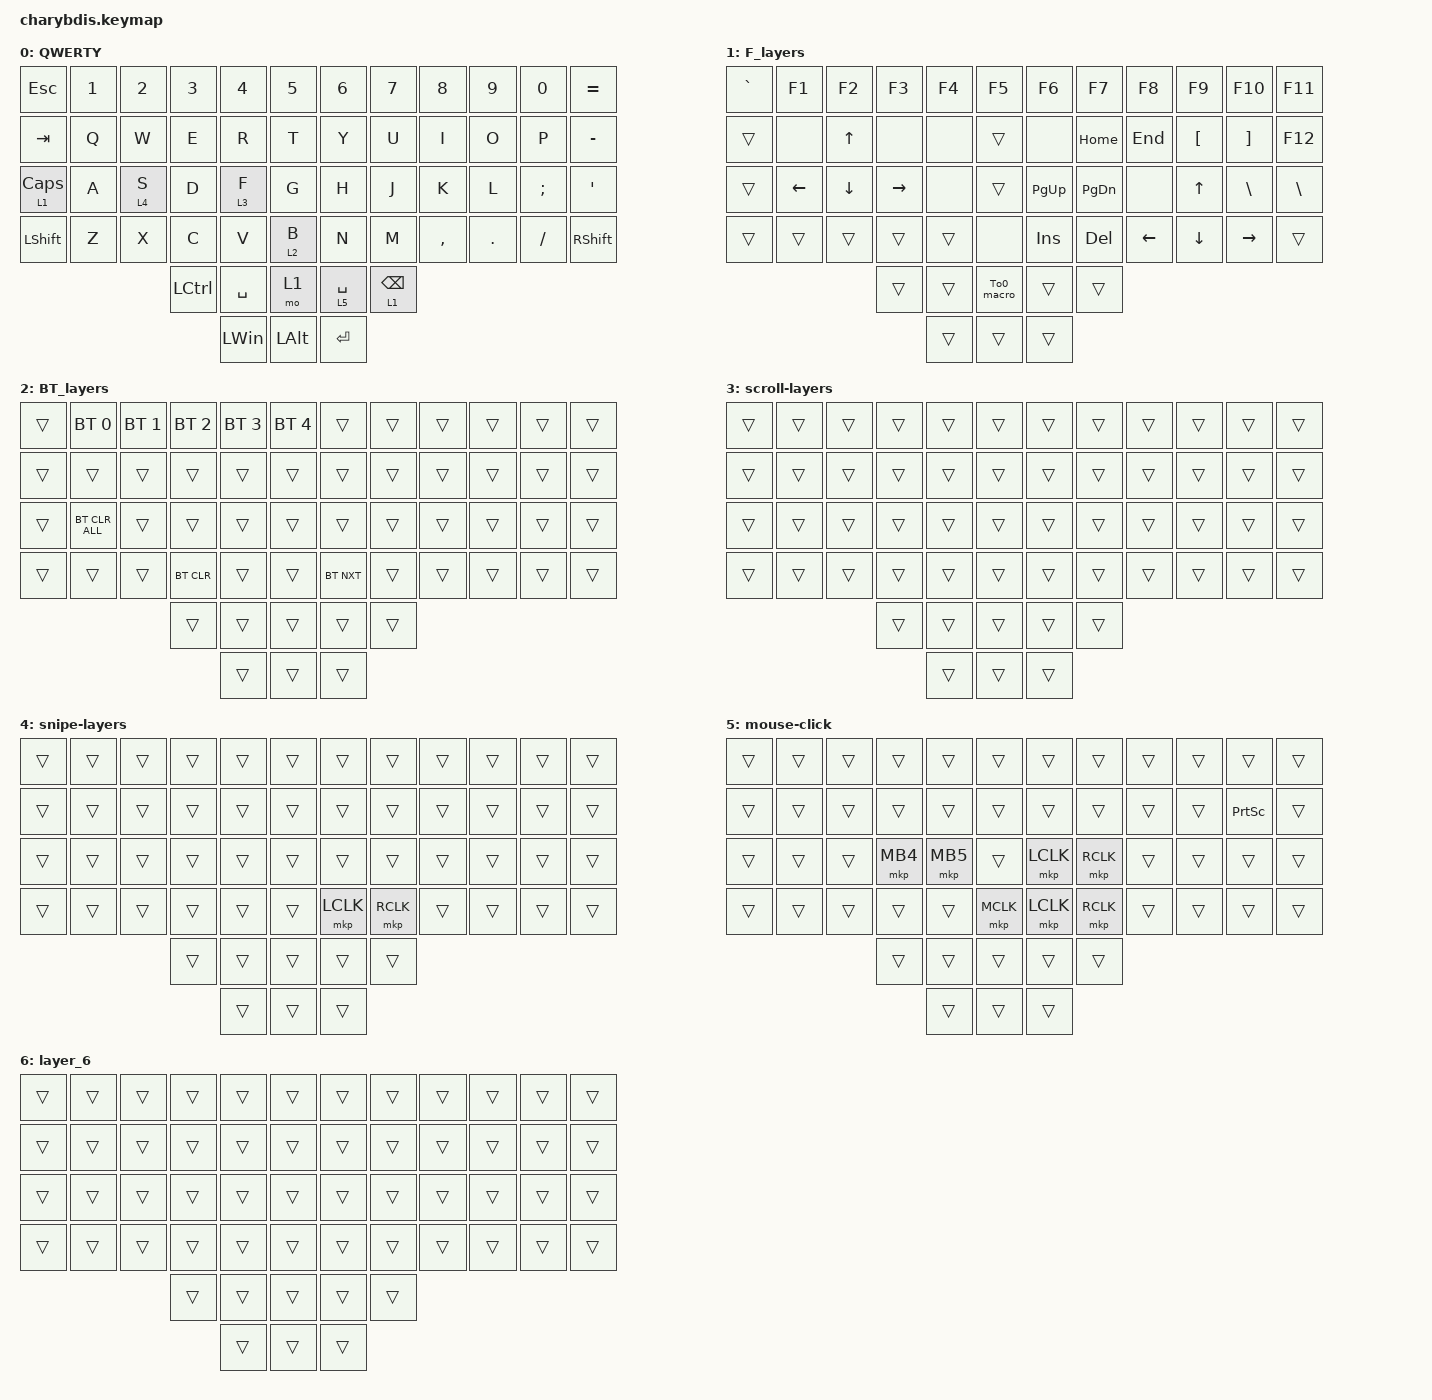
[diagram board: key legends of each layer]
#include <behaviors.dtsi>
#include <dt-bindings/zmk/bt.h>
#include <dt-bindings/zmk/keys.h>
#include <dt-bindings/zmk/pointing.h>
#include <dt-bindings/zmk/rgb.h>

&lt {
    tapping-term-ms = <200>;
    flavor = "balanced";
    quick-tap-ms = <150>;
};

/ {
    macros {
        To1_macro: To1_macro {
            compatible = "zmk,behavior-macro";
            label = "To1_macro";
            #binding-cells = <0>;
            bindings = <&rgb_ug RGB_EFF &rgb_ug RGB_COLOR_HSB(128,100,50) &to 1>;
        };

        To0_macro: To0_macro {
            compatible = "zmk,behavior-macro";
            label = "To0_macro";
            #binding-cells = <0>;
            bindings = <&rgb_ug RGB_EFR &to 0>;
        };

        To2_macro: To2_macro {
            compatible = "zmk,behavior-macro";
            label = "To2_macro";
            #binding-cells = <0>;
            bindings =
                <&to 2>,
                <&macro_wait_time 30>,
                <&rgb_ug RGB_COLOR_HSB(250,100,50)>;
        };
    };

    keymap {
        compatible = "zmk,keymap";

        QWERTY {
            bindings = <
&kp ESC         &kp N1  &kp N2   &kp N3            &kp N4        &kp N5          &kp N6       &kp N7           &kp N8     &kp N9   &kp N0    &kp EQUAL
&kp TAB         &kp Q   &kp W    &kp E             &kp R         &kp T           &kp Y        &kp U            &kp I      &kp O    &kp P     &kp MINUS
&lt 1 CAPSLOCK  &kp A   &lt 4 S  &kp D             &lt 3 F       &kp G           &kp H        &kp J            &kp K      &kp L    &kp SEMI  &kp SQT
&kp LEFT_SHIFT  &kp Z   &kp X    &kp C             &kp V         &lt 2 B         &kp N        &kp M            &kp COMMA  &kp DOT  &kp FSLH  &kp RIGHT_SHIFT
                                 &kp LEFT_CONTROL  &kp SPACE     &mo 1           &lt 5 SPACE  &lt 1 BACKSPACE
                                                   &kp LEFT_WIN  &kp LEFT_ALT    &kp ENTER
            >;
        };

        F_layers {
            bindings = <
&kp GRAVE  &kp F1    &kp F2    &kp F3     &kp F4  &kp F5        &kp F6       &kp F7         &kp F8    &kp F9            &kp F10            &kp F11
&trans     &none     &kp UP    &none      &none   &trans        &none        &kp HOME       &kp END   &kp LEFT_BRACKET  &kp RIGHT_BRACKET  &kp F12
&trans     &kp LEFT  &kp DOWN  &kp RIGHT  &none   &trans        &kp PAGE_UP  &kp PAGE_DOWN  &none     &kp UP            &kp BACKSLASH      &kp BACKSLASH
&trans     &trans    &trans    &trans     &trans  &none         &kp INS      &kp DEL        &kp LEFT  &kp DOWN          &kp RIGHT          &trans
                               &trans     &trans  &To0_macro    &trans       &trans
                                          &trans  &trans        &trans
            >;
        };

        BT_layers {
            bindings = <
&trans  &bt BT_SEL 0    &bt BT_SEL 1  &bt BT_SEL 2  &bt BT_SEL 3  &bt BT_SEL 4    &trans      &trans  &trans  &trans  &trans  &trans
&trans  &trans          &trans        &trans        &trans        &trans          &trans      &trans  &trans  &trans  &trans  &trans
&trans  &bt BT_CLR_ALL  &trans        &trans        &trans        &trans          &trans      &trans  &trans  &trans  &trans  &trans
&trans  &trans          &trans        &bt BT_CLR    &trans        &trans          &bt BT_NXT  &trans  &trans  &trans  &trans  &trans
                                      &trans        &trans        &trans          &trans      &trans
                                                    &trans        &trans          &trans
            >;
        };

        scroll-layers {
            bindings = <
&trans  &trans  &trans  &trans  &trans  &trans    &trans  &trans  &trans  &trans  &trans  &trans
&trans  &trans  &trans  &trans  &trans  &trans    &trans  &trans  &trans  &trans  &trans  &trans
&trans  &trans  &trans  &trans  &trans  &trans    &trans  &trans  &trans  &trans  &trans  &trans
&trans  &trans  &trans  &trans  &trans  &trans    &trans  &trans  &trans  &trans  &trans  &trans
                        &trans  &trans  &trans    &trans  &trans
                                &trans  &trans    &trans
            >;
        };

        snipe-layers {
            bindings = <
&trans  &trans  &trans  &trans  &trans  &trans    &trans     &trans     &trans  &trans  &trans  &trans
&trans  &trans  &trans  &trans  &trans  &trans    &trans     &trans     &trans  &trans  &trans  &trans
&trans  &trans  &trans  &trans  &trans  &trans    &trans     &trans     &trans  &trans  &trans  &trans
&trans  &trans  &trans  &trans  &trans  &trans    &mkp LCLK  &mkp RCLK  &trans  &trans  &trans  &trans
                        &trans  &trans  &trans    &trans     &trans
                                &trans  &trans    &trans
            >;
        };

        mouse-click {
            bindings = <
&trans  &trans  &trans  &trans    &trans    &trans       &trans     &trans     &trans  &trans  &trans           &trans
&trans  &trans  &trans  &trans    &trans    &trans       &trans     &trans     &trans  &trans  &kp PRINTSCREEN  &trans
&trans  &trans  &trans  &mkp MB4  &mkp MB5  &trans       &mkp LCLK  &mkp RCLK  &trans  &trans  &trans           &trans
&trans  &trans  &trans  &trans    &trans    &mkp MCLK    &mkp LCLK  &mkp RCLK  &trans  &trans  &trans           &trans
                        &trans    &trans    &trans       &trans     &trans
                                  &trans    &trans       &trans
            >;
        };

        layer_6 {
            bindings = <
&trans  &trans  &trans  &trans  &trans  &trans    &trans  &trans  &trans  &trans  &trans  &trans
&trans  &trans  &trans  &trans  &trans  &trans    &trans  &trans  &trans  &trans  &trans  &trans
&trans  &trans  &trans  &trans  &trans  &trans    &trans  &trans  &trans  &trans  &trans  &trans
&trans  &trans  &trans  &trans  &trans  &trans    &trans  &trans  &trans  &trans  &trans  &trans
                        &trans  &trans  &trans    &trans  &trans
                                &trans  &trans    &trans
            >;
        };
    };
};
